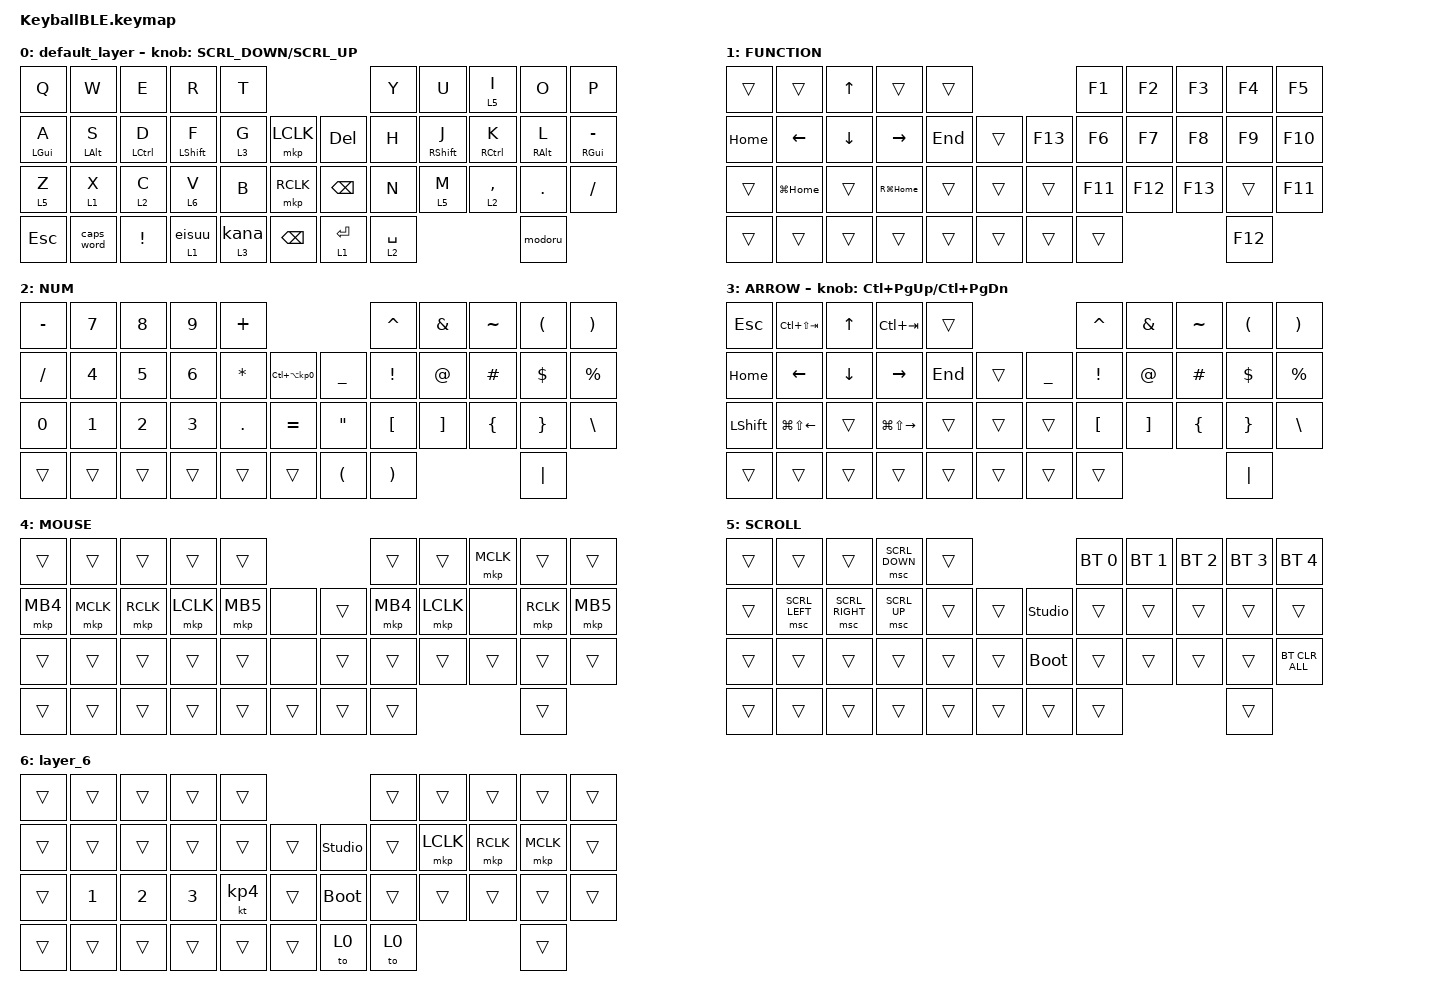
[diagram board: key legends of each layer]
#define ZMK_POINTING_DEFAULT_SCRL_VAL 120    // default: 10

#include <behaviors.dtsi>
#include <dt-bindings/zmk/bt.h>
#include <dt-bindings/zmk/keys.h>
#include <dt-bindings/zmk/pointing.h>

#define MOUSE 4
#define SCROLL 5
#define NUM 6

&mt {
    flavor = "balanced";
    quick-tap-ms = <0>;
};

/ {
    combos {
        compatible = "zmk,combos";

        tab {
            bindings = <&kp TAB>;
            key-positions = <20 19>;
        };

        shift+tab {
            bindings = <&kp LS(TAB)>;
            key-positions = <19 18>;
        };

        katakana {
            bindings = <&kp F7>;
            key-positions = <11 10>;
        };

        eigo {
            bindings = <&kp F10>;
            key-positions = <20 21>;
        };

        left {
            bindings = <&kp LEFT_ARROW>;
            key-positions = <18 19 11 12>;
        };

        tab_left {
            bindings = <&kp TAB>;
            key-positions = <13 12>;
        };

        shift_tab_left {
            bindings = <&kp LS(TAB)>;
            key-positions = <12 11>;
        };

        down {
            bindings = <&kp DOWN>;
            key-positions = <23 24>;
        };

        up {
            bindings = <&kp UP_ARROW>;
            key-positions = <1 2>;
        };

        home {
            bindings = <&kp HOME>;
            key-positions = <13 14>;
        };

        end {
            bindings = <&kp END>;
            key-positions = <11 10>;
        };

        semicolon {
            bindings = <&kp SEMICOLON>;
            key-positions = <32 33>;
        };
    };

    macros {
        to_layer_0: to_layer_0 {
            compatible = "zmk,behavior-macro-one-param";
            #binding-cells = <1>;
            bindings = <&to 0 &macro_param_1to1 &kp MACRO_PLACEHOLDER>;
            label = "TO_LAYER_0";
        };

        modoru: modoru {
            compatible = "zmk,behavior-macro";
            #binding-cells = <0>;
            bindings = <&kp LEFT_ALT &kp LEFT>;
            label = "MODORU";
        };

        eisuu: eisuu {
            compatible = "zmk,behavior-macro";
            #binding-cells = <0>;
            bindings = <&macro_press &kp LGUI>, <&macro_tap &kp SEMICOLON>, <&macro_release &kp LGUI>;
            label = "EISUU";
        };

        kana: kana {
            compatible = "zmk,behavior-macro";
            #binding-cells = <0>;
            bindings = <&macro_press &kp LGUI>, <&macro_tap &kp SQT>, <&macro_release &kp LGUI>;
            label = "KANA";
        };
    };

    behaviors {
        lt_to_layer_0: lt_to_layer_0 {
            compatible = "zmk,behavior-hold-tap";
            label = "LAYER_TAP_TO_0";
            bindings = <&mo>, <&to_layer_0>;

            #binding-cells = <2>;
            tapping-term-ms = <200>;
        };

        lt_eisuu: lt_eisuu {
            compatible = "zmk,behavior-hold-tap";
            label = "LT_EISUU";
            bindings = <&mo>, <&eisuu>;

            #binding-cells = <2>;
            tapping-term-ms = <200>;
        };

        lt_kana: lt_kana {
            compatible = "zmk,behavior-hold-tap";
            label = "LT_KANA";
            bindings = <&mo>, <&kana>;

            #binding-cells = <2>;
            tapping-term-ms = <200>;
        };

        ROTATE: ROTATE {
            compatible = "zmk,behavior-sensor-rotate-var";
            label = "ROTATE";
            #sensor-binding-cells = <2>;
            bindings = <&msc>, <&msc>;

            tap-ms = <20>;
        };

        hm: homerow_mods {
            compatible = "zmk,behavior-hold-tap";
            label = "HOMEROW_MODS";
            bindings = <&kp>, <&kp>;

            #binding-cells = <2>;
            tapping-term-ms = <200>;
            quick-tap-ms = <150>;
            flavor = "tap-preferred";
        };

        S_behavior: S_behavior {
            compatible = "zmk,behavior-hold-tap";
            label = "S_BEHAVIOR";
            bindings = <&kp>, <&kp>;

            #binding-cells = <2>;
            tapping-term-ms = <200>;
            quick-tap-ms = <150>;
            flavor = "tap-preferred";
            hold-trigger-key-positions = <0 1 2 3 4 5 6 7 8 9 10 11 13 14 15 16 17 18 19 20 21 22 23 24 25 26 27 28 29 30 31 32 33 34 35 36 37 38 39 40 41 42>;
        };

        win_behavior: win_behavior {
            compatible = "zmk,behavior-hold-tap";
            label = "WIN_BEHAVIOR";
            bindings = <&kp>, <&kp>;

            #binding-cells = <2>;
            tapping-term-ms = <200>;
            quick-tap-ms = <150>;
            flavor = "tap-preferred";
        };
    };

    keymap {
        compatible = "zmk,keymap";

        default_layer {
            bindings = <
&kp Q           &kp W                   &kp E                       &kp R                     &kp T                                                          &kp Y        &kp U                      &lt 5 I                      &kp O            &kp P
&hm LEFT_GUI A  &S_behavior LEFT_ALT S  &S_behavior LEFT_CONTROL D  &S_behavior LEFT_SHIFT F  &lt 3 G                      &mkp LCLK          &kp DELETE     &kp H        &S_behavior RIGHT_SHIFT J  &S_behavior RIGHT_CONTROL K  &hm RIGHT_ALT L  &hm RIGHT_GUI MINUS
&lt 5 Z         &lt 1 X                 &lt 2 C                     &lt 6 V                   &kp B                        &mkp RCLK          &kp BACKSPACE  &kp N        &lt 5 M                    &lt 2 COMMA                  &kp DOT          &kp SLASH
&kp ESC         &caps_word              &kp EXCL                    &lt_eisuu 1 0          &lt_kana 3 0  &kp BACKSPACE      &lt 1 ENTER    &lt 2 SPACE                                                                           &modoru
            >;

            sensor-bindings = <&ROTATE SCRL_DOWN SCRL_UP>;
        };

        FUNCTION {
            bindings = <
&trans    &trans          &kp UP_ARROW    &trans           &trans                        &kp F1   &kp F2   &kp F3   &kp F4  &kp F5
&kp HOME  &kp LEFT_ARROW  &kp DOWN_ARROW  &kp RIGHT_ARROW  &kp END  &trans      &kp F13  &kp F6   &kp F7   &kp F8   &kp F9  &kp F10
&trans    &kp LG(HOME)    &trans          &kp RG(HOME)     &trans   &trans      &trans   &kp F11  &kp F12  &kp F13  &trans  &kp F11
&trans    &trans          &trans          &trans           &trans   &trans      &trans   &trans                             &kp F12
            >;
        };

        NUM {
            bindings = <
&kp MINUS     &kp N7        &kp N8        &kp N9        &kp PLUS                                                         &kp CARET              &kp AMPERSAND      &kp TILDE       &kp LEFT_PARENTHESIS  &kp RIGHT_PARENTHESIS
&kp SLASH     &kp NUMBER_4  &kp NUMBER_5  &kp NUMBER_6  &kp ASTERISK  &kp LC(LA(KP_NUMBER_0))      &kp UNDERSCORE        &kp EXCLAMATION        &kp AT_SIGN        &kp HASH        &kp DOLLAR            &kp PERCENT
&kp NUMBER_0  &kp NUMBER_1  &kp NUMBER_2  &kp NUMBER_3  &kp PERIOD    &kp EQUAL                    &kp DOUBLE_QUOTES     &kp LEFT_BRACKET       &kp RIGHT_BRACKET  &kp LEFT_BRACE  &kp RIGHT_BRACE       &kp BACKSLASH
&trans        &trans        &trans        &trans        &trans        &trans                       &kp LEFT_PARENTHESIS  &kp RIGHT_PARENTHESIS                                                           &kp PIPE
            >;
        };

        ARROW {
            bindings = <
&kp ESCAPE      &kp LC(LS(TAB))         &kp UP_ARROW    &kp LC(TAB)              &trans                          &kp CARET         &kp AMPS           &kp TILDE       &kp LEFT_PARENTHESIS  &kp RIGHT_PARENTHESIS
&kp HOME        &kp LEFT_ARROW          &kp DOWN_ARROW  &kp RIGHT_ARROW          &kp END  &trans      &kp UNDER  &kp EXCL          &kp AT             &kp HASH        &kp DOLLAR            &kp PERCENT
&kp LEFT_SHIFT  &kp LG(LS(LEFT_ARROW))  &trans          &kp LG(LS(RIGHT_ARROW))  &trans   &trans      &trans     &kp LEFT_BRACKET  &kp RIGHT_BRACKET  &kp LEFT_BRACE  &kp RIGHT_BRACE       &kp BACKSLASH
&trans          &trans                  &trans          &trans                   &trans   &trans      &trans     &trans                                                                     &kp PIPE
            >;

            sensor-bindings = <&inc_dec_kp LC(PAGE_UP) LC(PAGE_DOWN)>;
        };

        MOUSE {
            bindings = <
&trans    &trans     &trans     &trans     &trans                        &trans    &trans     &mkp MCLK  &trans     &trans
&mkp MB4  &mkp MCLK  &mkp RCLK  &mkp LCLK  &mkp MB5  &none       &trans  &mkp MB4  &mkp LCLK  &none      &mkp RCLK  &mkp MB5
&trans    &trans     &trans     &trans     &trans    &none       &trans  &trans    &trans     &trans     &trans     &trans
&trans    &trans     &trans     &trans     &trans    &trans      &trans  &trans                                     &trans
            >;
        };

        SCROLL {
            bindings = <
&trans  &trans          &trans           &msc SCRL_DOWN  &trans                              &bt BT_SEL 0  &bt BT_SEL 1  &bt BT_SEL 2  &bt BT_SEL 3  &bt BT_SEL 4
&trans  &msc SCRL_LEFT  &msc SCRL_RIGHT  &msc SCRL_UP    &trans  &trans      &studio_unlock  &trans        &trans        &trans        &trans        &trans
&trans  &trans          &trans           &trans          &trans  &trans      &bootloader     &trans        &trans        &trans        &trans        &bt BT_CLR_ALL
&trans  &trans          &trans           &trans          &trans  &trans      &trans          &trans                                                  &trans
            >;
        };

        layer_6 {
            bindings = <
&trans  &trans        &trans        &trans        &trans                                 &trans  &trans     &trans     &trans     &trans
&trans  &trans        &trans        &trans        &trans     &trans      &studio_unlock  &trans  &mkp LCLK  &mkp RCLK  &mkp MCLK  &trans
&trans  &kp NUMBER_1  &kp NUMBER_2  &kp NUMBER_3  &kt KP_N4  &trans      &bootloader     &trans  &trans     &trans     &trans     &trans
&trans  &trans        &trans        &trans        &trans     &trans      &to 0           &to 0                                    &trans
            >;
        };
    };
};
